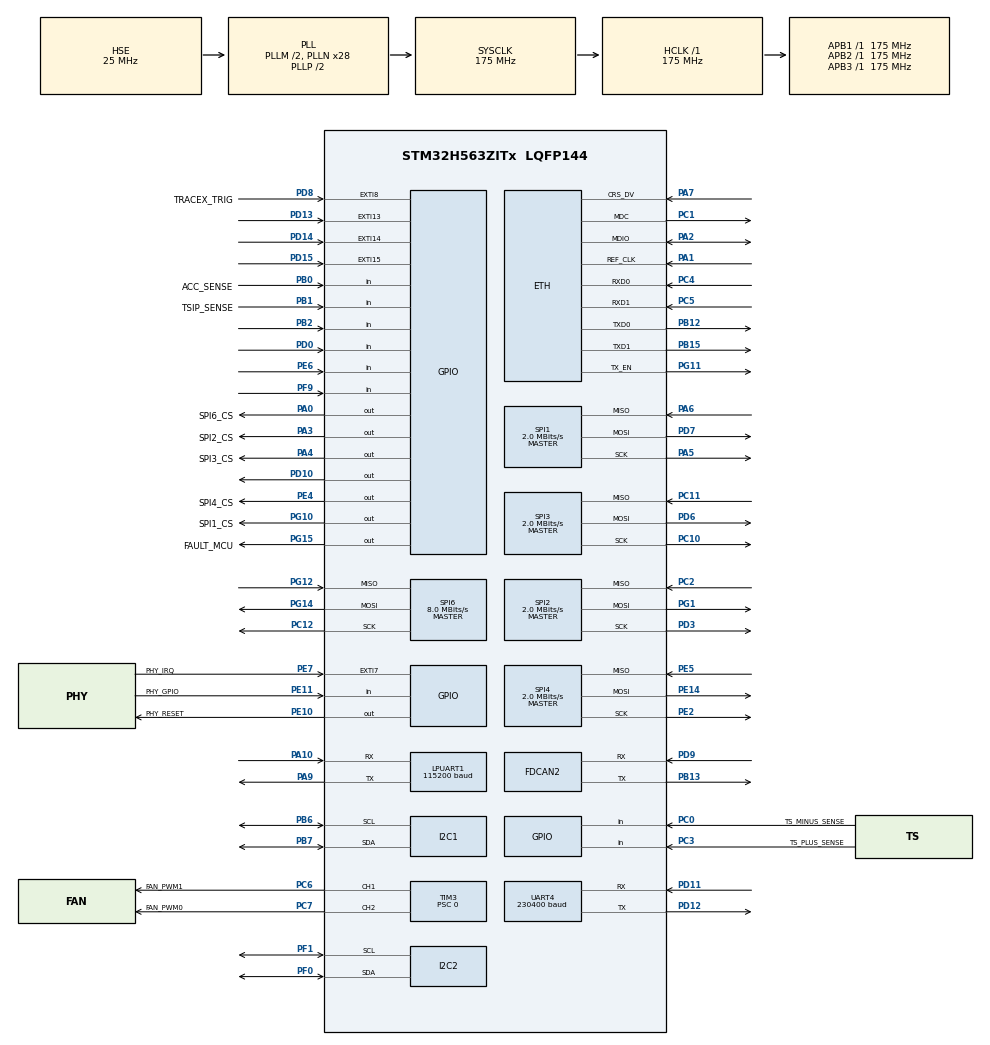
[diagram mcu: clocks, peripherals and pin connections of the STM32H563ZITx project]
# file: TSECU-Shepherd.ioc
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BOOTPATH.BootPathName=LEGACY
BOOTPATH.UserSelectedBootPath=LEGACY
CORTEX_M33_NS.userName=CORTEX_M33
ETH.MediaInterface=HAL_ETH_RMII_MODE
FDCAN2.CalculateBaudRateNominal=500000
FDCAN2.CalculateTimeBitNominal=2000
FDCAN2.CalculateTimeQuantumNominal=125.0
FDCAN2.ExtFiltersNbr=8
FDCAN2.NominalPrescaler=8
FDCAN2.NominalTimeSeg1=11
FDCAN2.NominalTimeSeg2=4
FDCAN2.StdFiltersNbr=28
GPDMA1.DESTINC_GPDMACH0=DMA_DINC_INCREMENTED
GPDMA1.DESTINC_GPDMACH1=DMA_DINC_INCREMENTED
GPDMA1.DESTINC_GPDMACH2=DMA_DINC_INCREMENTED
GPDMA1.DESTINC_GPDMACH3=DMA_DINC_INCREMENTED
GPDMA1.DIRECTION_GPDMACH0=DMA_PERIPH_TO_MEMORY
GPDMA1.DIRECTION_GPDMACH4=DMA_MEMORY_TO_PERIPH
GPDMA1.IPHANDLE_GPDMACH0-SIMPLEREQUEST_GPDMACH0=__NULL
GPDMA1.IPHANDLE_GPDMACH1-SIMPLEREQUEST_GPDMACH1=__NULL
GPDMA1.IPHANDLE_GPDMACH2-SIMPLEREQUEST_GPDMACH2=__NULL
GPDMA1.IPHANDLE_GPDMACH3-SIMPLEREQUEST_GPDMACH3=__NULL
GPDMA1.IPHANDLE_GPDMACH4-SIMPLEREQUEST_GPDMACH4=__NULL
GPDMA1.PRIORITY_GPDMACH0=DMA_LOW_PRIORITY_HIGH_WEIGHT
GPDMA1.PRIORITY_GPDMACH1=DMA_LOW_PRIORITY_HIGH_WEIGHT
GPDMA1.PRIORITY_GPDMACH2=DMA_LOW_PRIORITY_HIGH_WEIGHT
GPDMA1.PRIORITY_GPDMACH3=DMA_LOW_PRIORITY_HIGH_WEIGHT
GPDMA1.PRIORITY_GPDMACH4=DMA_LOW_PRIORITY_MID_WEIGHT
GPDMA1.REQUEST_GPDMACH0=GPDMA1_REQUEST_SPI1_RX
GPDMA1.REQUEST_GPDMACH1=GPDMA1_REQUEST_SPI2_RX
GPDMA1.REQUEST_GPDMACH2=GPDMA1_REQUEST_SPI3_RX
GPDMA1.REQUEST_GPDMACH3=GPDMA1_REQUEST_SPI4_RX
GPDMA1.REQUEST_GPDMACH4=GPDMA1_REQUEST_UART4_TX
GPDMA1.SRCINC_GPDMACH0=DMA_SINC_FIXED
GPDMA1.SRCINC_GPDMACH4=DMA_SINC_INCREMENTED
I2C1.Timing=0x60606293
I2C2.Timing=0x60606293
IWDG.Prescaler=IWDG_PRESCALER_16
LPUART1.BaudRate=115200
Mcu.Family=STM32H5
Mcu.Name=STM32H563ZITx
Mcu.Package=LQFP144
NETXDUO.ETH_ON=1
NETXDUO.NX_APP_MEM_POOL_SIZE=10240
NVIC.ETH_IRQn=true\:4\:0\:true\:false\:true\:false\:true\:true\:true
NVIC.EXTI8_IRQn=true\:15\:0\:true\:false\:true\:false\:true\:true\:true
NVIC.FDCAN2_IT0_IRQn=true\:2\:0\:true\:false\:true\:false\:true\:true\:true
NVIC.FDCAN2_IT1_IRQn=true\:2\:0\:true\:false\:true\:false\:true\:true\:true
NVIC.GPDMA1_Channel0_IRQn=true\:2\:0\:true\:false\:true\:true\:false\:true\:true
NVIC.GPDMA1_Channel1_IRQn=true\:2\:0\:true\:false\:true\:true\:false\:true\:true
NVIC.GPDMA1_Channel2_IRQn=true\:2\:0\:true\:false\:true\:true\:false\:true\:true
NVIC.GPDMA1_Channel3_IRQn=true\:2\:0\:true\:false\:true\:true\:false\:true\:true
NVIC.GPDMA1_Channel4_IRQn=true\:2\:0\:true\:false\:true\:true\:false\:true\:true
NVIC.PriorityGroup=NVIC_PRIORITYGROUP_4
NVIC.SPI1_IRQn=true\:2\:0\:true\:false\:true\:false\:true\:true\:true
NVIC.SPI2_IRQn=true\:2\:0\:true\:false\:true\:false\:true\:true\:true
NVIC.SPI3_IRQn=true\:2\:0\:true\:false\:true\:false\:true\:true\:true
NVIC.SPI4_IRQn=true\:2\:0\:true\:false\:true\:false\:true\:true\:true
NVIC.TIM1_UP_IRQn=true\:1\:0\:true\:false\:true\:false\:false\:true\:true
NVIC.TimeBase=TIM1_UP_IRQn
NVIC.TimeBaseIP=TIM1
NVIC.UART4_IRQn=true\:3\:0\:true\:false\:true\:false\:true\:true\:true
PA0.GPIO_Label=SPI6_CS
PA0.Signal=GPIO_Output
PA1.Mode=RMII
PA1.Signal=ETH_REF_CLK
PA10.Mode=Asynchronous
PA10.Signal=LPUART1_RX
PA13(JTMS/SWDIO).Mode=JTAG_4_pins
PA13(JTMS/SWDIO).Signal=DEBUG_JTMS-SWDIO
PA14(JTCK/SWCLK).Mode=JTAG_4_pins
PA14(JTCK/SWCLK).Signal=DEBUG_JTCK-SWCLK
PA15(JTDI).Mode=JTAG_4_pins
PA15(JTDI).Signal=DEBUG_JTDI
PA2.Mode=RMII
PA2.Signal=ETH_MDIO
PA3.GPIO_Label=SPI2_CS
PA3.Signal=GPIO_Output
PA4.GPIO_Label=SPI3_CS
PA4.Signal=GPIO_Output
PA5.Mode=Full_Duplex_Master
PA5.Signal=SPI1_SCK
PA6.Mode=Full_Duplex_Master
PA6.Signal=SPI1_MISO
PA7.Mode=RMII
PA7.PinAttribute=Free
PA7.Signal=ETH_CRS_DV
PA9.Mode=Asynchronous
PA9.Signal=LPUART1_TX
PB0.GPIO_Label=ACC_SENSE
PB0.Signal=GPIO_Input
PB1.GPIO_Label=TSIP_SENSE
PB1.Signal=GPIO_Input
PB12.Mode=RMII
PB12.Signal=ETH_TXD0
PB13.Mode=FDCAN_Activate
PB13.Signal=FDCAN2_TX
PB15.Mode=RMII
PB15.Signal=ETH_TXD1
PB2.Signal=GPIO_Input
PB3(JTDO/TRACESWO).Mode=JTAG_4_pins
PB3(JTDO/TRACESWO).Signal=DEBUG_JTDO-SWO
PB6.Mode=I2C
PB6.Signal=I2C1_SCL
PB7.Mode=I2C
PB7.PinAttribute=Free
PB7.Signal=I2C1_SDA
PC0.GPIO_Label=TS_MINUS_SENSE
PC0.PinAttribute=Free
PC0.Signal=GPIO_Input
PC1.Mode=RMII
PC1.Signal=ETH_MDC
PC10.Mode=Full_Duplex_Master
PC10.Signal=SPI3_SCK
PC11.Mode=Full_Duplex_Master
PC11.Signal=SPI3_MISO
PC12.Mode=Full_Duplex_Master
PC12.Signal=SPI6_SCK
PC14-OSC32_IN(OSC32_IN).Mode=LSE-External-Oscillator
PC14-OSC32_IN(OSC32_IN).Signal=RCC_OSC32_IN
PC15-OSC32_OUT(OSC32_OUT).Mode=LSE-External-Oscillator
PC15-OSC32_OUT(OSC32_OUT).Signal=RCC_OSC32_OUT
PC2.Mode=Full_Duplex_Master
PC2.Signal=SPI2_MISO
PC3.GPIO_Label=TS_PLUS_SENSE
PC3.Signal=GPIO_Input
PC4.Mode=RMII
PC4.Signal=ETH_RXD0
PC5.Mode=RMII
PC5.Signal=ETH_RXD1
PC6.GPIO_Label=FAN_PWM1
PC6.Signal=S_TIM3_CH1
PC7.GPIO_Label=FAN_PWM0
PC7.Signal=S_TIM3_CH2
PD0.Signal=GPIO_Input
PD10.Signal=GPIO_Output
PD11.Mode=Asynchronous
PD11.Signal=UART4_RX
PD12.Mode=Asynchronous
PD12.PinAttribute=Free
PD12.Signal=UART4_TX
PD13.PinAttribute=Free
PD13.Signal=GPXTI13
PD14.Signal=GPXTI14
PD15.PinAttribute=Free
PD15.Signal=GPXTI15
PD3.Mode=Full_Duplex_Master
PD3.Signal=SPI2_SCK
PD6.Mode=Full_Duplex_Master
PD6.PinAttribute=Free
PD6.Signal=SPI3_MOSI
PD7.Mode=Full_Duplex_Master
PD7.Signal=SPI1_MOSI
PD8.GPIO_Label=TRACEX_TRIG
PD8.GPIO_ModeDefaultEXTI=GPIO_MODE_IT_FALLING
PD8.GPIO_PuPd=GPIO_PULLUP
PD8.Signal=GPXTI8
PD9.Mode=FDCAN_Activate
PD9.Signal=FDCAN2_RX
PE10.GPIO_Label=PHY_RESET
PE10.Signal=GPIO_Output
PE11.GPIO_Label=PHY_GPIO
PE11.Signal=GPIO_Input
PE14.Mode=Full_Duplex_Master
PE14.PinAttribute=Free
PE14.Signal=SPI4_MOSI
PE2.Mode=Full_Duplex_Master
PE2.PinAttribute=Free
PE2.Signal=SPI4_SCK
PE4.GPIO_Label=SPI4_CS
PE4.Signal=GPIO_Output
PE5.Mode=Full_Duplex_Master
PE5.PinAttribute=Free
PE5.Signal=SPI4_MISO
PE6.Signal=GPIO_Input
PE7.GPIO_Label=PHY_IRQ
PE7.Signal=GPXTI7
PF0.Mode=I2C
PF0.Signal=I2C2_SDA
PF1.Mode=I2C
PF1.Signal=I2C2_SCL
PF9.Signal=GPIO_Input
PG1.Mode=Full_Duplex_Master
PG1.Signal=SPI2_MOSI
PG10.GPIO_Label=SPI1_CS
PG10.Signal=GPIO_Output
PG11.Mode=RMII
PG11.Signal=ETH_TX_EN
PG12.Mode=Full_Duplex_Master
PG12.Signal=SPI6_MISO
PG14.Mode=Full_Duplex_Master
PG14.Signal=SPI6_MOSI
PG15.GPIO_Label=FAULT_MCU
PG15.Signal=GPIO_Output
PH0-OSC_IN(PH0).Mode=HSE-External-Oscillator
PH0-OSC_IN(PH0).Signal=RCC_OSC_IN
PH1-OSC_OUT(PH1).Mode=HSE-External-Oscillator
PH1-OSC_OUT(PH1).Signal=RCC_OSC_OUT
ProjectManager.HeapSize=0x200
ProjectManager.StackSize=0x400
ProjectManager.TargetToolchain=CMake
RCC.ADCFreq_Value=175000000
RCC.AHBFreq_Value=175000000
RCC.APB1Freq_Value=175000000
RCC.APB1TimFreq_Value=175000000
RCC.APB2Freq_Value=175000000
RCC.APB2TimFreq_Value=175000000
RCC.APB3Freq_Value=175000000
RCC.CSI_VALUE=4000000
RCC.CortexFreq_Value=175000000
RCC.EPOD_VALUE=25000000
RCC.FDCANClockSelection=RCC_FDCANCLKSOURCE_PLL2Q
RCC.HCLKFreq_Value=175000000
RCC.HSE_VALUE=25000000
RCC.HSI48_VALUE=48000000
RCC.HSI_VALUE=64000000
RCC.LSIRC_VALUE=32000
RCC.PLL2FRACN=0
RCC.PLL2M=5
RCC.PLL2N=64
RCC.PLL2P=5
RCC.PLL2Q=5
RCC.PLL2Source=RCC_PLL2_SOURCE_HSE
RCC.PLL3FRACN=0
RCC.PLLFRACN=0
RCC.PLLM=2
RCC.PLLN=28
RCC.PLLSourceVirtual=RCC_PLL1_SOURCE_HSE
RCC.SPI1CLockSelection=RCC_SPI1CLKSOURCE_PLL2P
RCC.SPI2CLockSelection=RCC_SPI2CLKSOURCE_PLL2P
RCC.SPI3CLockSelection=RCC_SPI3CLKSOURCE_PLL2P
RCC.SPI4CLockSelection=RCC_SPI4CLKSOURCE_PLL2Q
RCC.SPI6CLockSelection=RCC_SPI6CLKSOURCE_PLL2Q
RCC.SYSCLKFreq_VALUE=175000000
RCC.SYSCLKSource=RCC_SYSCLKSOURCE_PLLCLK
RCC.USBFreq_Value=48000000
RCC.VCOOutputFreq_Value=350000000
SH.S_TIM3_CH1.0=TIM3_CH1,PWM Generation1 CH1
SH.S_TIM3_CH2.0=TIM3_CH2,PWM Generation2 CH2
SPI1.BaudRatePrescaler=SPI_BAUDRATEPRESCALER_32
SPI1.CalculateBaudRate=2.0 MBits/s
SPI1.DataSize=SPI_DATASIZE_8BIT
SPI1.Direction=SPI_DIRECTION_2LINES
SPI1.MasterKeepIOState=SPI_MASTER_KEEP_IO_STATE_ENABLE
SPI1.Mode=SPI_MODE_MASTER
SPI1.NSSPMode=SPI_NSS_PULSE_DISABLE
SPI1.VirtualType=VM_MASTER
SPI2.BaudRatePrescaler=SPI_BAUDRATEPRESCALER_32
SPI2.CalculateBaudRate=2.0 MBits/s
SPI2.DataSize=SPI_DATASIZE_8BIT
SPI2.Direction=SPI_DIRECTION_2LINES
SPI2.MasterKeepIOState=SPI_MASTER_KEEP_IO_STATE_ENABLE
SPI2.Mode=SPI_MODE_MASTER
SPI2.NSSPMode=SPI_NSS_PULSE_DISABLE
SPI2.VirtualType=VM_MASTER
SPI3.BaudRatePrescaler=SPI_BAUDRATEPRESCALER_32
SPI3.CalculateBaudRate=2.0 MBits/s
SPI3.DataSize=SPI_DATASIZE_8BIT
SPI3.Direction=SPI_DIRECTION_2LINES
SPI3.MasterKeepIOState=SPI_MASTER_KEEP_IO_STATE_ENABLE
SPI3.Mode=SPI_MODE_MASTER
SPI3.NSSPMode=SPI_NSS_PULSE_DISABLE
SPI3.VirtualType=VM_MASTER
SPI4.BaudRatePrescaler=SPI_BAUDRATEPRESCALER_32
SPI4.CalculateBaudRate=2.0 MBits/s
SPI4.DataSize=SPI_DATASIZE_8BIT
SPI4.Direction=SPI_DIRECTION_2LINES
SPI4.MasterKeepIOState=SPI_MASTER_KEEP_IO_STATE_ENABLE
SPI4.Mode=SPI_MODE_MASTER
SPI4.NSSPMode=SPI_NSS_PULSE_DISABLE
SPI4.VirtualType=VM_MASTER
SPI6.BaudRatePrescaler=SPI_BAUDRATEPRESCALER_8
SPI6.CalculateBaudRate=8.0 MBits/s
SPI6.DataSize=SPI_DATASIZE_8BIT
SPI6.Direction=SPI_DIRECTION_2LINES
SPI6.MasterKeepIOState=SPI_MASTER_KEEP_IO_STATE_ENABLE
SPI6.Mode=SPI_MODE_MASTER
SPI6.NSSPMode=SPI_NSS_PULSE_DISABLE
SPI6.VirtualType=VM_MASTER
THREADX.TX_APP_MEM_POOL_SIZE=60040
THREADX.TX_ENABLE_EVENT_TRACE=1
THREADX.TX_TIMER_TICKS_PER_SECOND=1000
TIM2.Prescaler=174
TIM3.Channel-PWM\ Generation1\ CH1=TIM_CHANNEL_1
TIM3.Channel-PWM\ Generation2\ CH2=TIM_CHANNEL_2
TIM3.Prescaler=0
TIM4.PeriodNoDither=65535
TIM4.Prescaler=174
TIM5.Prescaler=174
TIM6.Prescaler=174
UART4.BaudRate=230400
UART4.Mode=MODE_TX
VP_BOOTPATH_VS_BOOTPATH.Mode=BP_Activate
VP_CORTEX_M33_NS_VS_Hclk.Mode=Hclk_Mode
VP_GPDMA1_VS_GPDMACH0.Mode=SIMPLEREQUEST_GPDMACH0
VP_GPDMA1_VS_GPDMACH1.Mode=SIMPLEREQUEST_GPDMACH1
VP_GPDMA1_VS_GPDMACH2.Mode=SIMPLEREQUEST_GPDMACH2
VP_GPDMA1_VS_GPDMACH3.Mode=SIMPLEREQUEST_GPDMACH3
VP_GPDMA1_VS_GPDMACH4.Mode=SIMPLEREQUEST_GPDMACH4
VP_ICACHE_VS_ENABLE_ICACHE_MEMORY.Mode=Memoryregions
VP_IWDG_VS_IWDG.Mode=IWDG_Activate
VP_MEMORYMAP_VS_MEMORYMAP.Mode=CurAppReg
VP_NETXDUO_VS_EthernetOoPhyOoInterface.Mode=Custom_Phy_Interface
VP_NETXDUO_VS_NXOoCore.Mode=NX_Core
VP_NETXDUO_VS_NetworkOoInterface.Mode=Ethernet_Interface
VP_PWR_VS_DBSignals.Mode=DisableDeadBatterySignals
VP_PWR_VS_LPOM.Mode=PowerOptimisation
VP_PWR_VS_SECSignals.Mode=Security/Privilege
VP_SYS_VS_tim1.Mode=TIM1
VP_THREADX_VS_RTOSJjThreadXJjCoreJjDefault.Mode=Core_Default
VP_THREADX_VS_RTOSJjThreadXJjTraceX_SupportJjDefault.Mode=TraceX_Support_Default
VP_TIM2_VS_ClockSourceINT.Mode=Internal
VP_TIM4_VS_ClockSourceINT.Mode=Internal
VP_TIM5_VS_ClockSourceINT.Mode=Internal
VP_TIM6_VS_ClockSourceINT.Mode=Enable_Timer
board=custom

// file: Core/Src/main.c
/* USER CODE BEGIN Header */
/**
  ******************************************************************************
  * @file           : main.c
  * @brief          : Main program body
  ******************************************************************************
  * @attention
  *
  * Copyright (c) 2025 STMicroelectronics.
  * All rights reserved.
  *
  * This software is licensed under terms that can be found in the LICENSE file
  * in the root directory of this software component.
  * If no LICENSE file comes with this software, it is provided AS-IS.
  *
  ******************************************************************************
  */
/* USER CODE END Header */
#include "app_threadx.h"
#include "main.h"

/* USER CODE BEGIN Includes */
#include <stdint.h>
#include <stdio.h>
#include <assert.h>
#include "can_handler.h"
#include "fdcan.h"
/* USER CODE END Includes */

ETH_DMADescTypeDef  DMARxDscrTab[ETH_RX_DESC_CNT]; /* Ethernet Rx DMA Descriptors */
ETH_DMADescTypeDef  DMATxDscrTab[ETH_TX_DESC_CNT]; /* Ethernet Tx DMA Descriptors */

ETH_HandleTypeDef heth;

FDCAN_HandleTypeDef hfdcan2;

I2C_HandleTypeDef hi2c1;
I2C_HandleTypeDef hi2c2;

IWDG_HandleTypeDef hiwdg;

UART_HandleTypeDef hlpuart1;
UART_HandleTypeDef huart4;
DMA_HandleTypeDef handle_GPDMA1_Channel4;

SPI_HandleTypeDef hspi1;
SPI_HandleTypeDef hspi2;
SPI_HandleTypeDef hspi3;
SPI_HandleTypeDef hspi4;
SPI_HandleTypeDef hspi6;
DMA_HandleTypeDef handle_GPDMA1_Channel0;
DMA_HandleTypeDef handle_GPDMA1_Channel1;
DMA_HandleTypeDef handle_GPDMA1_Channel2;
DMA_HandleTypeDef handle_GPDMA1_Channel3;

TIM_HandleTypeDef htim2;
TIM_HandleTypeDef htim3;
TIM_HandleTypeDef htim4;
TIM_HandleTypeDef htim5;
TIM_HandleTypeDef htim6;

void SystemClock_Config(void);
void PeriphCommonClock_Config(void);
static void MX_GPIO_Init(void);
static void MX_GPDMA1_Init(void);
static void MX_ETH_Init(void);
static void MX_I2C1_Init(void);
static void MX_LPUART1_UART_Init(void);
static void MX_SPI1_Init(void);
static void MX_SPI2_Init(void);
static void MX_ICACHE_Init(void);
static void MX_FDCAN2_Init(void);
static void MX_SPI3_Init(void);
static void MX_SPI4_Init(void);
static void MX_I2C2_Init(void);
static void MX_SPI6_Init(void);
static void MX_TIM3_Init(void);
static void MX_TIM5_Init(void);
static void MX_UART4_Init(void);
static void MX_TIM2_Init(void);
static void MX_TIM4_Init(void);
static void MX_TIM6_Init(void);
static void MX_IWDG_Init(void);

/* USER CODE BEGIN 0 */
/* Make printf() use LPUART1 */
int _write(int file, char *ptr, int len)
{
    HAL_UART_Transmit(&hlpuart1, (uint8_t*)ptr, len, HAL_MAX_DELAY);
    return len;
}

/* FDCAN FIFO0 Interrupt Callback */
/* Callback for any FIFO0 interrupt stuff */
void HAL_FDCAN_RxFifo0Callback(FDCAN_HandleTypeDef *hfdcan, uint32_t RxFifo0ITs)
{
  can_receive_callback(hfdcan, RxFifo0ITs);
}

/* BusOff Error Handling. */
void HAL_FDCAN_ErrorStatusCallback(FDCAN_HandleTypeDef *hfdcan, uint32_t ErrorStatusITs)
{
    FDCAN_ProtocolStatusTypeDef protocol_status;
    HAL_FDCAN_GetProtocolStatus(hfdcan, &protocol_status);

    if (protocol_status.BusOff != 0)  // If Bus-Off error occurred
    {
        CLEAR_BIT(hfdcan->Instance->CCCR, FDCAN_CCCR_INIT);  // Clear INIT bit to recover from Bus-Off
    }
}

/* USER CODE END 0 */

int main(void)
{

  /* MCU Configuration--------------------------------------------------------*/

  /* Reset of all peripherals, Initializes the Flash interface and the Systick. */
  HAL_Init();

  /* Configure the system clock */
  SystemClock_Config();

  /* Configure the peripherals common clocks */
  PeriphCommonClock_Config();

  /* Initialize all configured peripherals */
  MX_GPIO_Init();
  MX_GPDMA1_Init();
  MX_ETH_Init();
  MX_I2C1_Init();
  MX_LPUART1_UART_Init();
  MX_SPI1_Init();
  MX_SPI2_Init();
  MX_ICACHE_Init();
  MX_FDCAN2_Init();
  MX_SPI3_Init();
  MX_SPI4_Init();
  MX_I2C2_Init();
  MX_SPI6_Init();
  MX_TIM3_Init();
  MX_TIM5_Init();
  MX_UART4_Init();
  MX_TIM2_Init();
  MX_TIM4_Init();
  MX_TIM6_Init();
  MX_IWDG_Init();
  /* USER CODE BEGIN 2 */
  init_can1(&hfdcan2);
  /* USER CODE END 2 */

  MX_ThreadX_Init();

  /* We should never get here as control is now taken by the scheduler */

  /* Infinite loop */
  while (1)
  {

  }
}

void SystemClock_Config(void)
{
  RCC_OscInitTypeDef RCC_OscInitStruct = {0};
  RCC_ClkInitTypeDef RCC_ClkInitStruct = {0};

  /** Configure the main internal regulator output voltage
  */
  __HAL_PWR_VOLTAGESCALING_CONFIG(PWR_REGULATOR_VOLTAGE_SCALE1);

  while(!__HAL_PWR_GET_FLAG(PWR_FLAG_VOSRDY)) {}

  /** Initializes the RCC Oscillators according to the specified parameters
  * in the RCC_OscInitTypeDef structure.
  */
  RCC_OscInitStruct.OscillatorType = RCC_OSCILLATORTYPE_LSI|RCC_OSCILLATORTYPE_HSE;
  RCC_OscInitStruct.HSEState = RCC_HSE_ON;
  RCC_OscInitStruct.LSIState = RCC_LSI_ON;
  RCC_OscInitStruct.PLL.PLLState = RCC_PLL_ON;
  RCC_OscInitStruct.PLL.PLLSource = RCC_PLL1_SOURCE_HSE;
  RCC_OscInitStruct.PLL.PLLM = 2;
  RCC_OscInitStruct.PLL.PLLN = 28;
  RCC_OscInitStruct.PLL.PLLP = 2;
  RCC_OscInitStruct.PLL.PLLQ = 2;
  RCC_OscInitStruct.PLL.PLLR = 2;
  RCC_OscInitStruct.PLL.PLLRGE = RCC_PLL1_VCIRANGE_3;
  RCC_OscInitStruct.PLL.PLLVCOSEL = RCC_PLL1_VCORANGE_WIDE;
  RCC_OscInitStruct.PLL.PLLFRACN = 0;
  if (HAL_RCC_OscConfig(&RCC_OscInitStruct) != HAL_OK)
  {
    Error_Handler();
  }

  /** Initializes the CPU, AHB and APB buses clocks
  */
  RCC_ClkInitStruct.ClockType = RCC_CLOCKTYPE_HCLK|RCC_CLOCKTYPE_SYSCLK
                              |RCC_CLOCKTYPE_PCLK1|RCC_CLOCKTYPE_PCLK2
                              |RCC_CLOCKTYPE_PCLK3;
  RCC_ClkInitStruct.SYSCLKSource = RCC_SYSCLKSOURCE_PLLCLK;
  RCC_ClkInitStruct.AHBCLKDivider = RCC_SYSCLK_DIV1;
  RCC_ClkInitStruct.APB1CLKDivider = RCC_HCLK_DIV1;
  RCC_ClkInitStruct.APB2CLKDivider = RCC_HCLK_DIV1;
  RCC_ClkInitStruct.APB3CLKDivider = RCC_HCLK_DIV1;

  if (HAL_RCC_ClockConfig(&RCC_ClkInitStruct, FLASH_LATENCY_5) != HAL_OK)
  {
    Error_Handler();
  }

  /** Configure the programming delay
  */
  __HAL_FLASH_SET_PROGRAM_DELAY(FLASH_PROGRAMMING_DELAY_2);
}

void PeriphCommonClock_Config(void)
{
  RCC_PeriphCLKInitTypeDef PeriphClkInitStruct = {0};

  /** Initializes the peripherals clock
  */
  PeriphClkInitStruct.PeriphClockSelection = RCC_PERIPHCLK_FDCAN|RCC_PERIPHCLK_SPI1
                              |RCC_PERIPHCLK_SPI2|RCC_PERIPHCLK_SPI3
                              |RCC_PERIPHCLK_SPI4|RCC_PERIPHCLK_SPI6;
  PeriphClkInitStruct.PLL2.PLL2Source = RCC_PLL2_SOURCE_HSE;
  PeriphClkInitStruct.PLL2.PLL2M = 5;
  PeriphClkInitStruct.PLL2.PLL2N = 64;
  PeriphClkInitStruct.PLL2.PLL2P = 5;
  PeriphClkInitStruct.PLL2.PLL2Q = 5;
  PeriphClkInitStruct.PLL2.PLL2R = 2;
  PeriphClkInitStruct.PLL2.PLL2RGE = RCC_PLL2_VCIRANGE_2;
  PeriphClkInitStruct.PLL2.PLL2VCOSEL = RCC_PLL2_VCORANGE_WIDE;
  PeriphClkInitStruct.PLL2.PLL2FRACN = 0;
  PeriphClkInitStruct.PLL2.PLL2ClockOut = RCC_PLL2_DIVP|RCC_PLL2_DIVQ;
  PeriphClkInitStruct.FdcanClockSelection = RCC_FDCANCLKSOURCE_PLL2Q;
  PeriphClkInitStruct.Spi1ClockSelection = RCC_SPI1CLKSOURCE_PLL2P;
  PeriphClkInitStruct.Spi2ClockSelection = RCC_SPI2CLKSOURCE_PLL2P;
  PeriphClkInitStruct.Spi3ClockSelection = RCC_SPI3CLKSOURCE_PLL2P;
  PeriphClkInitStruct.Spi4ClockSelection = RCC_SPI4CLKSOURCE_PLL2Q;
  PeriphClkInitStruct.Spi6ClockSelection = RCC_SPI6CLKSOURCE_PLL2Q;
  if (HAL_RCCEx_PeriphCLKConfig(&PeriphClkInitStruct) != HAL_OK)
  {
    Error_Handler();
  }
}

static void MX_ETH_Init(void)
{

   static uint8_t MACAddr[6];

  heth.Instance = ETH;
  MACAddr[0] = 0x00;
  MACAddr[1] = 0x80;
  MACAddr[2] = 0xE1;
  MACAddr[3] = 0x00;
  MACAddr[4] = 0x00;
  MACAddr[5] = 0x00;
  heth.Init.MACAddr = &MACAddr[0];
  heth.Init.MediaInterface = HAL_ETH_RMII_MODE;
  heth.Init.TxDesc = DMATxDscrTab;
  heth.Init.RxDesc = DMARxDscrTab;
  heth.Init.RxBuffLen = 1524;

  if (HAL_ETH_Init(&heth) != HAL_OK)
  {
    Error_Handler();
  }

}

static void MX_FDCAN2_Init(void)
{

  hfdcan2.Instance = FDCAN2;
  hfdcan2.Init.ClockDivider = FDCAN_CLOCK_DIV1;
  hfdcan2.Init.FrameFormat = FDCAN_FRAME_CLASSIC;
  hfdcan2.Init.Mode = FDCAN_MODE_NORMAL;
  hfdcan2.Init.AutoRetransmission = DISABLE;
  hfdcan2.Init.TransmitPause = DISABLE;
  hfdcan2.Init.ProtocolException = DISABLE;
  hfdcan2.Init.NominalPrescaler = 8;
  hfdcan2.Init.NominalSyncJumpWidth = 1;
  hfdcan2.Init.NominalTimeSeg1 = 11;
  hfdcan2.Init.NominalTimeSeg2 = 4;
  hfdcan2.Init.DataPrescaler = 1;
  hfdcan2.Init.DataSyncJumpWidth = 1;
  hfdcan2.Init.DataTimeSeg1 = 1;
  hfdcan2.Init.DataTimeSeg2 = 1;
  hfdcan2.Init.StdFiltersNbr = 28;
  hfdcan2.Init.ExtFiltersNbr = 8;
  hfdcan2.Init.TxFifoQueueMode = FDCAN_TX_FIFO_OPERATION;
  if (HAL_FDCAN_Init(&hfdcan2) != HAL_OK)
  {
    Error_Handler();
  }

}

static void MX_GPDMA1_Init(void)
{

  /* Peripheral clock enable */
  __HAL_RCC_GPDMA1_CLK_ENABLE();

  /* GPDMA1 interrupt Init */
    HAL_NVIC_SetPriority(GPDMA1_Channel0_IRQn, 2, 0);
    HAL_NVIC_EnableIRQ(GPDMA1_Channel0_IRQn);
    HAL_NVIC_SetPriority(GPDMA1_Channel1_IRQn, 2, 0);
    HAL_NVIC_EnableIRQ(GPDMA1_Channel1_IRQn);
    HAL_NVIC_SetPriority(GPDMA1_Channel2_IRQn, 2, 0);
    HAL_NVIC_EnableIRQ(GPDMA1_Channel2_IRQn);
    HAL_NVIC_SetPriority(GPDMA1_Channel3_IRQn, 2, 0);
    HAL_NVIC_EnableIRQ(GPDMA1_Channel3_IRQn);
    HAL_NVIC_SetPriority(GPDMA1_Channel4_IRQn, 2, 0);
    HAL_NVIC_EnableIRQ(GPDMA1_Channel4_IRQn);

}

static void MX_I2C1_Init(void)
{

  hi2c1.Instance = I2C1;
  hi2c1.Init.Timing = 0x60606293;
  hi2c1.Init.OwnAddress1 = 0;
  hi2c1.Init.AddressingMode = I2C_ADDRESSINGMODE_7BIT;
  hi2c1.Init.DualAddressMode = I2C_DUALADDRESS_DISABLE;
  hi2c1.Init.OwnAddress2 = 0;
  hi2c1.Init.OwnAddress2Masks = I2C_OA2_NOMASK;
  hi2c1.Init.GeneralCallMode = I2C_GENERALCALL_DISABLE;
  hi2c1.Init.NoStretchMode = I2C_NOSTRETCH_DISABLE;
  if (HAL_I2C_Init(&hi2c1) != HAL_OK)
  {
    Error_Handler();
  }

  /** Configure Analogue filter
  */
  if (HAL_I2CEx_ConfigAnalogFilter(&hi2c1, I2C_ANALOGFILTER_ENABLE) != HAL_OK)
  {
    Error_Handler();
  }

  /** Configure Digital filter
  */
  if (HAL_I2CEx_ConfigDigitalFilter(&hi2c1, 0) != HAL_OK)
  {
    Error_Handler();
  }

}

static void MX_I2C2_Init(void)
{

  hi2c2.Instance = I2C2;
  hi2c2.Init.Timing = 0x60606293;
  hi2c2.Init.OwnAddress1 = 0;
  hi2c2.Init.AddressingMode = I2C_ADDRESSINGMODE_7BIT;
  hi2c2.Init.DualAddressMode = I2C_DUALADDRESS_DISABLE;
  hi2c2.Init.OwnAddress2 = 0;
  hi2c2.Init.OwnAddress2Masks = I2C_OA2_NOMASK;
  hi2c2.Init.GeneralCallMode = I2C_GENERALCALL_DISABLE;
  hi2c2.Init.NoStretchMode = I2C_NOSTRETCH_DISABLE;
  if (HAL_I2C_Init(&hi2c2) != HAL_OK)
  {
    Error_Handler();
  }

  /** Configure Analogue filter
  */
  if (HAL_I2CEx_ConfigAnalogFilter(&hi2c2, I2C_ANALOGFILTER_ENABLE) != HAL_OK)
  {
    Error_Handler();
  }

  /** Configure Digital filter
  */
  if (HAL_I2CEx_ConfigDigitalFilter(&hi2c2, 0) != HAL_OK)
  {
    Error_Handler();
  }

}

static void MX_ICACHE_Init(void)
{

}

static void MX_IWDG_Init(void)
{

  hiwdg.Instance = IWDG;
  hiwdg.Init.Prescaler = IWDG_PRESCALER_16;
  hiwdg.Init.Window = 4095;
  hiwdg.Init.Reload = 4095;
  hiwdg.Init.EWI = 0;
  if (HAL_IWDG_Init(&hiwdg) != HAL_OK)
  {
    Error_Handler();
  }

}

static void MX_LPUART1_UART_Init(void)
{

  hlpuart1.Instance = LPUART1;
  hlpuart1.Init.BaudRate = 115200;
  hlpuart1.Init.WordLength = UART_WORDLENGTH_8B;
  hlpuart1.Init.StopBits = UART_STOPBITS_1;
  hlpuart1.Init.Parity = UART_PARITY_NONE;
  hlpuart1.Init.Mode = UART_MODE_TX_RX;
  hlpuart1.Init.HwFlowCtl = UART_HWCONTROL_NONE;
  hlpuart1.Init.OneBitSampling = UART_ONE_BIT_SAMPLE_DISABLE;
  hlpuart1.Init.ClockPrescaler = UART_PRESCALER_DIV1;
  hlpuart1.AdvancedInit.AdvFeatureInit = UART_ADVFEATURE_NO_INIT;
  hlpuart1.FifoMode = UART_FIFOMODE_DISABLE;
  if (HAL_UART_Init(&hlpuart1) != HAL_OK)
  {
    Error_Handler();
  }
  if (HAL_UARTEx_SetTxFifoThreshold(&hlpuart1, UART_TXFIFO_THRESHOLD_1_8) != HAL_OK)
  {
    Error_Handler();
  }
  if (HAL_UARTEx_SetRxFifoThreshold(&hlpuart1, UART_RXFIFO_THRESHOLD_1_8) != HAL_OK)
  {
    Error_Handler();
  }
  if (HAL_UARTEx_DisableFifoMode(&hlpuart1) != HAL_OK)
  {
    Error_Handler();
  }

}

static void MX_UART4_Init(void)
{

  huart4.Instance = UART4;
  huart4.Init.BaudRate = 230400;
  huart4.Init.WordLength = UART_WORDLENGTH_8B;
  huart4.Init.StopBits = UART_STOPBITS_1;
  huart4.Init.Parity = UART_PARITY_NONE;
  huart4.Init.Mode = UART_MODE_TX;
  huart4.Init.HwFlowCtl = UART_HWCONTROL_NONE;
  huart4.Init.OverSampling = UART_OVERSAMPLING_16;
  huart4.Init.OneBitSampling = UART_ONE_BIT_SAMPLE_DISABLE;
  huart4.Init.ClockPrescaler = UART_PRESCALER_DIV1;
  huart4.AdvancedInit.AdvFeatureInit = UART_ADVFEATURE_NO_INIT;
  if (HAL_UART_Init(&huart4) != HAL_OK)
  {
    Error_Handler();
  }
  if (HAL_UARTEx_SetTxFifoThreshold(&huart4, UART_TXFIFO_THRESHOLD_1_8) != HAL_OK)
  {
    Error_Handler();
  }
  if (HAL_UARTEx_SetRxFifoThreshold(&huart4, UART_RXFIFO_THRESHOLD_1_8) != HAL_OK)
  {
    Error_Handler();
  }
  if (HAL_UARTEx_DisableFifoMode(&huart4) != HAL_OK)
  {
    Error_Handler();
  }

}

static void MX_SPI1_Init(void)
{

  /* SPI1 parameter configuration*/
  hspi1.Instance = SPI1;
  hspi1.Init.Mode = SPI_MODE_MASTER;
  hspi1.Init.Direction = SPI_DIRECTION_2LINES;
  hspi1.Init.DataSize = SPI_DATASIZE_8BIT;
  hspi1.Init.CLKPolarity = SPI_POLARITY_LOW;
  hspi1.Init.CLKPhase = SPI_PHASE_1EDGE;
  hspi1.Init.NSS = SPI_NSS_SOFT;
  hspi1.Init.BaudRatePrescaler = SPI_BAUDRATEPRESCALER_32;
  hspi1.Init.FirstBit = SPI_FIRSTBIT_MSB;
  hspi1.Init.TIMode = SPI_TIMODE_DISABLE;
  hspi1.Init.CRCCalculation = SPI_CRCCALCULATION_DISABLE;
  hspi1.Init.CRCPolynomial = 0x7;
  hspi1.Init.NSSPMode = SPI_NSS_PULSE_DISABLE;
  hspi1.Init.NSSPolarity = SPI_NSS_POLARITY_LOW;
  hspi1.Init.FifoThreshold = SPI_FIFO_THRESHOLD_01DATA;
  hspi1.Init.MasterSSIdleness = SPI_MASTER_SS_IDLENESS_00CYCLE;
  hspi1.Init.MasterInterDataIdleness = SPI_MASTER_INTERDATA_IDLENESS_00CYCLE;
  hspi1.Init.MasterReceiverAutoSusp = SPI_MASTER_RX_AUTOSUSP_DISABLE;
  hspi1.Init.MasterKeepIOState = SPI_MASTER_KEEP_IO_STATE_ENABLE;
  hspi1.Init.IOSwap = SPI_IO_SWAP_DISABLE;
  hspi1.Init.ReadyMasterManagement = SPI_RDY_MASTER_MANAGEMENT_INTERNALLY;
  hspi1.Init.ReadyPolarity = SPI_RDY_POLARITY_HIGH;
  if (HAL_SPI_Init(&hspi1) != HAL_OK)
  {
    Error_Handler();
  }

}

static void MX_SPI2_Init(void)
{

  /* SPI2 parameter configuration*/
  hspi2.Instance = SPI2;
  hspi2.Init.Mode = SPI_MODE_MASTER;
  hspi2.Init.Direction = SPI_DIRECTION_2LINES;
  hspi2.Init.DataSize = SPI_DATASIZE_8BIT;
  hspi2.Init.CLKPolarity = SPI_POLARITY_LOW;
  hspi2.Init.CLKPhase = SPI_PHASE_1EDGE;
  hspi2.Init.NSS = SPI_NSS_SOFT;
  hspi2.Init.BaudRatePrescaler = SPI_BAUDRATEPRESCALER_32;
  hspi2.Init.FirstBit = SPI_FIRSTBIT_MSB;
  hspi2.Init.TIMode = SPI_TIMODE_DISABLE;
  hspi2.Init.CRCCalculation = SPI_CRCCALCULATION_DISABLE;
  hspi2.Init.CRCPolynomial = 0x7;
  hspi2.Init.NSSPMode = SPI_NSS_PULSE_DISABLE;
  hspi2.Init.NSSPolarity = SPI_NSS_POLARITY_LOW;
  hspi2.Init.FifoThreshold = SPI_FIFO_THRESHOLD_01DATA;
  hspi2.Init.MasterSSIdleness = SPI_MASTER_SS_IDLENESS_00CYCLE;
  hspi2.Init.MasterInterDataIdleness = SPI_MASTER_INTERDATA_IDLENESS_00CYCLE;
  hspi2.Init.MasterReceiverAutoSusp = SPI_MASTER_RX_AUTOSUSP_DISABLE;
  hspi2.Init.MasterKeepIOState = SPI_MASTER_KEEP_IO_STATE_ENABLE;
  hspi2.Init.IOSwap = SPI_IO_SWAP_DISABLE;
  hspi2.Init.ReadyMasterManagement = SPI_RDY_MASTER_MANAGEMENT_INTERNALLY;
  hspi2.Init.ReadyPolarity = SPI_RDY_POLARITY_HIGH;
  if (HAL_SPI_Init(&hspi2) != HAL_OK)
  {
    Error_Handler();
  }

}

static void MX_SPI3_Init(void)
{

  /* SPI3 parameter configuration*/
  hspi3.Instance = SPI3;
  hspi3.Init.Mode = SPI_MODE_MASTER;
  hspi3.Init.Direction = SPI_DIRECTION_2LINES;
  hspi3.Init.DataSize = SPI_DATASIZE_8BIT;
  hspi3.Init.CLKPolarity = SPI_POLARITY_LOW;
  hspi3.Init.CLKPhase = SPI_PHASE_1EDGE;
  hspi3.Init.NSS = SPI_NSS_SOFT;
  hspi3.Init.BaudRatePrescaler = SPI_BAUDRATEPRESCALER_32;
  hspi3.Init.FirstBit = SPI_FIRSTBIT_MSB;
  hspi3.Init.TIMode = SPI_TIMODE_DISABLE;
  hspi3.Init.CRCCalculation = SPI_CRCCALCULATION_DISABLE;
  hspi3.Init.CRCPolynomial = 0x7;
  hspi3.Init.NSSPMode = SPI_NSS_PULSE_DISABLE;
  hspi3.Init.NSSPolarity = SPI_NSS_POLARITY_LOW;
  hspi3.Init.FifoThreshold = SPI_FIFO_THRESHOLD_01DATA;
  hspi3.Init.MasterSSIdleness = SPI_MASTER_SS_IDLENESS_00CYCLE;
  hspi3.Init.MasterInterDataIdleness = SPI_MASTER_INTERDATA_IDLENESS_00CYCLE;
  hspi3.Init.MasterReceiverAutoSusp = SPI_MASTER_RX_AUTOSUSP_DISABLE;
  hspi3.Init.MasterKeepIOState = SPI_MASTER_KEEP_IO_STATE_ENABLE;
  hspi3.Init.IOSwap = SPI_IO_SWAP_DISABLE;
  hspi3.Init.ReadyMasterManagement = SPI_RDY_MASTER_MANAGEMENT_INTERNALLY;
  hspi3.Init.ReadyPolarity = SPI_RDY_POLARITY_HIGH;
  if (HAL_SPI_Init(&hspi3) != HAL_OK)
  {
    Error_Handler();
  }

}

static void MX_SPI4_Init(void)
{

  /* SPI4 parameter configuration*/
  hspi4.Instance = SPI4;
  hspi4.Init.Mode = SPI_MODE_MASTER;
  hspi4.Init.Direction = SPI_DIRECTION_2LINES;
  hspi4.Init.DataSize = SPI_DATASIZE_8BIT;
  hspi4.Init.CLKPolarity = SPI_POLARITY_LOW;
  hspi4.Init.CLKPhase = SPI_PHASE_1EDGE;
  hspi4.Init.NSS = SPI_NSS_SOFT;
  hspi4.Init.BaudRatePrescaler = SPI_BAUDRATEPRESCALER_32;
  hspi4.Init.FirstBit = SPI_FIRSTBIT_MSB;
  hspi4.Init.TIMode = SPI_TIMODE_DISABLE;
  hspi4.Init.CRCCalculation = SPI_CRCCALCULATION_DISABLE;
  hspi4.Init.CRCPolynomial = 0x7;
  hspi4.Init.NSSPMode = SPI_NSS_PULSE_DISABLE;
  hspi4.Init.NSSPolarity = SPI_NSS_POLARITY_LOW;
  hspi4.Init.FifoThreshold = SPI_FIFO_THRESHOLD_01DATA;
  hspi4.Init.MasterSSIdleness = SPI_MASTER_SS_IDLENESS_00CYCLE;
  hspi4.Init.MasterInterDataIdleness = SPI_MASTER_INTERDATA_IDLENESS_00CYCLE;
  hspi4.Init.MasterReceiverAutoSusp = SPI_MASTER_RX_AUTOSUSP_DISABLE;
  hspi4.Init.MasterKeepIOState = SPI_MASTER_KEEP_IO_STATE_ENABLE;
  hspi4.Init.IOSwap = SPI_IO_SWAP_DISABLE;
  hspi4.Init.ReadyMasterManagement = SPI_RDY_MASTER_MANAGEMENT_INTERNALLY;
  hspi4.Init.ReadyPolarity = SPI_RDY_POLARITY_HIGH;
  if (HAL_SPI_Init(&hspi4) != HAL_OK)
  {
    Error_Handler();
  }

}

static void MX_SPI6_Init(void)
{

  /* SPI6 parameter configuration*/
  hspi6.Instance = SPI6;
  hspi6.Init.Mode = SPI_MODE_MASTER;
  hspi6.Init.Direction = SPI_DIRECTION_2LINES;
  hspi6.Init.DataSize = SPI_DATASIZE_8BIT;
  hspi6.Init.CLKPolarity = SPI_POLARITY_LOW;
  hspi6.Init.CLKPhase = SPI_PHASE_1EDGE;
  hspi6.Init.NSS = SPI_NSS_SOFT;
  hspi6.Init.BaudRatePrescaler = SPI_BAUDRATEPRESCALER_8;
  hspi6.Init.FirstBit = SPI_FIRSTBIT_MSB;
  hspi6.Init.TIMode = SPI_TIMODE_DISABLE;
  hspi6.Init.CRCCalculation = SPI_CRCCALCULATION_DISABLE;
  hspi6.Init.CRCPolynomial = 0x7;
  hspi6.Init.NSSPMode = SPI_NSS_PULSE_DISABLE;
  hspi6.Init.NSSPolarity = SPI_NSS_POLARITY_LOW;
  hspi6.Init.FifoThreshold = SPI_FIFO_THRESHOLD_01DATA;
  hspi6.Init.MasterSSIdleness = SPI_MASTER_SS_IDLENESS_00CYCLE;
  hspi6.Init.MasterInterDataIdleness = SPI_MASTER_INTERDATA_IDLENESS_00CYCLE;
  hspi6.Init.MasterReceiverAutoSusp = SPI_MASTER_RX_AUTOSUSP_DISABLE;
  hspi6.Init.MasterKeepIOState = SPI_MASTER_KEEP_IO_STATE_ENABLE;
  hspi6.Init.IOSwap = SPI_IO_SWAP_DISABLE;
  hspi6.Init.ReadyMasterManagement = SPI_RDY_MASTER_MANAGEMENT_INTERNALLY;
  hspi6.Init.ReadyPolarity = SPI_RDY_POLARITY_HIGH;
  if (HAL_SPI_Init(&hspi6) != HAL_OK)
  {
    Error_Handler();
  }

}

static void MX_TIM2_Init(void)
{

  TIM_ClockConfigTypeDef sClockSourceConfig = {0};
  TIM_MasterConfigTypeDef sMasterConfig = {0};

  htim2.Instance = TIM2;
  htim2.Init.Prescaler = 174;
  htim2.Init.CounterMode = TIM_COUNTERMODE_UP;
  htim2.Init.Period = 4294967295;
  htim2.Init.ClockDivision = TIM_CLOCKDIVISION_DIV1;
  htim2.Init.AutoReloadPreload = TIM_AUTORELOAD_PRELOAD_DISABLE;
  if (HAL_TIM_Base_Init(&htim2) != HAL_OK)
  {
    Error_Handler();
  }
  sClockSourceConfig.ClockSource = TIM_CLOCKSOURCE_INTERNAL;
  if (HAL_TIM_ConfigClockSource(&htim2, &sClockSourceConfig) != HAL_OK)
  {
    Error_Handler();
  }
  sMasterConfig.MasterOutputTrigger = TIM_TRGO_RESET;
  sMasterConfig.MasterSlaveMode = TIM_MASTERSLAVEMODE_DISABLE;
  if (HAL_TIMEx_MasterConfigSynchronization(&htim2, &sMasterConfig) != HAL_OK)
  {
    Error_Handler();
  }
  /* USER CODE BEGIN TIM2_Init 2 */
  HAL_TIM_Base_Start(&htim2);
  /* USER CODE END TIM2_Init 2 */

}

static void MX_TIM3_Init(void)
{

  TIM_MasterConfigTypeDef sMasterConfig = {0};
  TIM_OC_InitTypeDef sConfigOC = {0};

  htim3.Instance = TIM3;
  htim3.Init.Prescaler = 0;
  htim3.Init.CounterMode = TIM_COUNTERMODE_UP;
  htim3.Init.Period = 65535;
  htim3.Init.ClockDivision = TIM_CLOCKDIVISION_DIV1;
  htim3.Init.AutoReloadPreload = TIM_AUTORELOAD_PRELOAD_DISABLE;
  if (HAL_TIM_PWM_Init(&htim3) != HAL_OK)
  {
    Error_Handler();
  }
  sMasterConfig.MasterOutputTrigger = TIM_TRGO_RESET;
  sMasterConfig.MasterSlaveMode = TIM_MASTERSLAVEMODE_DISABLE;
  if (HAL_TIMEx_MasterConfigSynchronization(&htim3, &sMasterConfig) != HAL_OK)
  {
    Error_Handler();
  }
  sConfigOC.OCMode = TIM_OCMODE_PWM1;
  sConfigOC.Pulse = 0;
  sConfigOC.OCPolarity = TIM_OCPOLARITY_HIGH;
  sConfigOC.OCFastMode = TIM_OCFAST_DISABLE;
  if (HAL_TIM_PWM_ConfigChannel(&htim3, &sConfigOC, TIM_CHANNEL_1) != HAL_OK)
  {
    Error_Handler();
  }
  if (HAL_TIM_PWM_ConfigChannel(&htim3, &sConfigOC, TIM_CHANNEL_2) != HAL_OK)
  {
    Error_Handler();
  }
  HAL_TIM_MspPostInit(&htim3);

}

static void MX_TIM4_Init(void)
{

  TIM_ClockConfigTypeDef sClockSourceConfig = {0};
  TIM_MasterConfigTypeDef sMasterConfig = {0};

  htim4.Instance = TIM4;
  htim4.Init.Prescaler = 174;
  htim4.Init.CounterMode = TIM_COUNTERMODE_UP;
  htim4.Init.Period = 65535;
  htim4.Init.ClockDivision = TIM_CLOCKDIVISION_DIV1;
  htim4.Init.AutoReloadPreload = TIM_AUTORELOAD_PRELOAD_DISABLE;
  if (HAL_TIM_Base_Init(&htim4) != HAL_OK)
  {
    Error_Handler();
  }
  sClockSourceConfig.ClockSource = TIM_CLOCKSOURCE_INTERNAL;
  if (HAL_TIM_ConfigClockSource(&htim4, &sClockSourceConfig) != HAL_OK)
  {
    Error_Handler();
  }
  sMasterConfig.MasterOutputTrigger = TIM_TRGO_RESET;
  sMasterConfig.MasterSlaveMode = TIM_MASTERSLAVEMODE_DISABLE;
  if (HAL_TIMEx_MasterConfigSynchronization(&htim4, &sMasterConfig) != HAL_OK)
  {
    Error_Handler();
  }

}

static void MX_TIM5_Init(void)
{

  TIM_ClockConfigTypeDef sClockSourceConfig = {0};
  TIM_MasterConfigTypeDef sMasterConfig = {0};

  htim5.Instance = TIM5;
  htim5.Init.Prescaler = 174;
  htim5.Init.CounterMode = TIM_COUNTERMODE_UP;
  htim5.Init.Period = 4294967295;
  htim5.Init.ClockDivision = TIM_CLOCKDIVISION_DIV1;
  htim5.Init.AutoReloadPreload = TIM_AUTORELOAD_PRELOAD_DISABLE;
  if (HAL_TIM_Base_Init(&htim5) != HAL_OK)
  {
    Error_Handler();
  }
  sClockSourceConfig.ClockSource = TIM_CLOCKSOURCE_INTERNAL;
  if (HAL_TIM_ConfigClockSource(&htim5, &sClockSourceConfig) != HAL_OK)
  {
    Error_Handler();
  }
  sMasterConfig.MasterOutputTrigger = TIM_TRGO_RESET;
  sMasterConfig.MasterSlaveMode = TIM_MASTERSLAVEMODE_DISABLE;
  if (HAL_TIMEx_MasterConfigSynchronization(&htim5, &sMasterConfig) != HAL_OK)
  {
    Error_Handler();
  }
  /* USER CODE BEGIN TIM5_Init 2 */
  HAL_TIM_Base_Start(&htim5);
  /* USER CODE END TIM5_Init 2 */

}

static void MX_TIM6_Init(void)
{

  TIM_MasterConfigTypeDef sMasterConfig = {0};

  htim6.Instance = TIM6;
  htim6.Init.Prescaler = 174;
  htim6.Init.CounterMode = TIM_COUNTERMODE_UP;
  htim6.Init.Period = 65535;
  htim6.Init.AutoReloadPreload = TIM_AUTORELOAD_PRELOAD_DISABLE;
  if (HAL_TIM_Base_Init(&htim6) != HAL_OK)
  {
    Error_Handler();
  }
  sMasterConfig.MasterOutputTrigger = TIM_TRGO_RESET;
  sMasterConfig.MasterSlaveMode = TIM_MASTERSLAVEMODE_DISABLE;
  if (HAL_TIMEx_MasterConfigSynchronization(&htim6, &sMasterConfig) != HAL_OK)
  {
    Error_Handler();
  }

}

static void MX_GPIO_Init(void)
{
  GPIO_InitTypeDef GPIO_InitStruct = {0};

  /* GPIO Ports Clock Enable */
  __HAL_RCC_GPIOE_CLK_ENABLE();
  __HAL_RCC_GPIOC_CLK_ENABLE();
  __HAL_RCC_GPIOF_CLK_ENABLE();
  __HAL_RCC_GPIOH_CLK_ENABLE();
  __HAL_RCC_GPIOA_CLK_ENABLE();
  __HAL_RCC_GPIOB_CLK_ENABLE();
  __HAL_RCC_GPIOG_CLK_ENABLE();
  __HAL_RCC_GPIOD_CLK_ENABLE();

  /*Configure GPIO pin Output Level */
  HAL_GPIO_WritePin(GPIOE, SPI4_CS_Pin|PHY_RESET_Pin, GPIO_PIN_RESET);

  /*Configure GPIO pin Output Level */
  HAL_GPIO_WritePin(GPIOA, SPI6_CS_Pin|SPI2_CS_Pin|SPI3_CS_Pin, GPIO_PIN_RESET);

  /*Configure GPIO pin Output Level */
  HAL_GPIO_WritePin(GPIOD, GPIO_PIN_10, GPIO_PIN_RESET);

  /*Configure GPIO pin Output Level */
  HAL_GPIO_WritePin(GPIOG, SPI1_CS_Pin|FAULT_MCU_Pin, GPIO_PIN_RESET);

  /*Configure GPIO pins : SPI4_CS_Pin PHY_RESET_Pin */
  GPIO_InitStruct.Pin = SPI4_CS_Pin|PHY_RESET_Pin;
  GPIO_InitStruct.Mode = GPIO_MODE_OUTPUT_PP;
  GPIO_InitStruct.Pull = GPIO_NOPULL;
  GPIO_InitStruct.Speed = GPIO_SPEED_FREQ_LOW;
  HAL_GPIO_Init(GPIOE, &GPIO_InitStruct);

  /*Configure GPIO pins : PE6 PHY_GPIO_Pin */
  GPIO_InitStruct.Pin = GPIO_PIN_6|PHY_GPIO_Pin;
  GPIO_InitStruct.Mode = GPIO_MODE_INPUT;
  GPIO_InitStruct.Pull = GPIO_NOPULL;
  HAL_GPIO_Init(GPIOE, &GPIO_InitStruct);

  /*Configure GPIO pin : PF9 */
  GPIO_InitStruct.Pin = GPIO_PIN_9;
  GPIO_InitStruct.Mode = GPIO_MODE_INPUT;
  GPIO_InitStruct.Pull = GPIO_NOPULL;
  HAL_GPIO_Init(GPIOF, &GPIO_InitStruct);

  /*Configure GPIO pins : TS_MINUS_SENSE_Pin TS_PLUS_SENSE_Pin */
  GPIO_InitStruct.Pin = TS_MINUS_SENSE_Pin|TS_PLUS_SENSE_Pin;
  GPIO_InitStruct.Mode = GPIO_MODE_INPUT;
  GPIO_InitStruct.Pull = GPIO_NOPULL;
  HAL_GPIO_Init(GPIOC, &GPIO_InitStruct);

  /*Configure GPIO pins : SPI6_CS_Pin SPI2_CS_Pin SPI3_CS_Pin */
  GPIO_InitStruct.Pin = SPI6_CS_Pin|SPI2_CS_Pin|SPI3_CS_Pin;
  GPIO_InitStruct.Mode = GPIO_MODE_OUTPUT_PP;
  GPIO_InitStruct.Pull = GPIO_NOPULL;
  GPIO_InitStruct.Speed = GPIO_SPEED_FREQ_LOW;
  HAL_GPIO_Init(GPIOA, &GPIO_InitStruct);

  /*Configure GPIO pins : ACC_SENSE_Pin TSIP_SENSE_Pin PB2 */
  GPIO_InitStruct.Pin = ACC_SENSE_Pin|TSIP_SENSE_Pin|GPIO_PIN_2;
  GPIO_InitStruct.Mode = GPIO_MODE_INPUT;
  GPIO_InitStruct.Pull = GPIO_NOPULL;
  HAL_GPIO_Init(GPIOB, &GPIO_InitStruct);

  /*Configure GPIO pin : PHY_IRQ_Pin */
  GPIO_InitStruct.Pin = PHY_IRQ_Pin;
  GPIO_InitStruct.Mode = GPIO_MODE_IT_RISING;
  GPIO_InitStruct.Pull = GPIO_NOPULL;
  HAL_GPIO_Init(PHY_IRQ_GPIO_Port, &GPIO_InitStruct);

  /*Configure GPIO pin : TRACEX_TRIG_Pin */
  GPIO_InitStruct.Pin = TRACEX_TRIG_Pin;
  GPIO_InitStruct.Mode = GPIO_MODE_IT_FALLING;
  GPIO_InitStruct.Pull = GPIO_PULLUP;
  HAL_GPIO_Init(TRACEX_TRIG_GPIO_Port, &GPIO_InitStruct);

  /*Configure GPIO pin : PD10 */
  GPIO_InitStruct.Pin = GPIO_PIN_10;
  GPIO_InitStruct.Mode = GPIO_MODE_OUTPUT_PP;
  GPIO_InitStruct.Pull = GPIO_NOPULL;
  GPIO_InitStruct.Speed = GPIO_SPEED_FREQ_LOW;
  HAL_GPIO_Init(GPIOD, &GPIO_InitStruct);

  /*Configure GPIO pins : PD13 PD14 PD15 */
  GPIO_InitStruct.Pin = GPIO_PIN_13|GPIO_PIN_14|GPIO_PIN_15;
  GPIO_InitStruct.Mode = GPIO_MODE_IT_RISING;
  GPIO_InitStruct.Pull = GPIO_NOPULL;
  HAL_GPIO_Init(GPIOD, &GPIO_InitStruct);

  /*Configure GPIO pin : PD0 */
  GPIO_InitStruct.Pin = GPIO_PIN_0;
  GPIO_InitStruct.Mode = GPIO_MODE_INPUT;
  GPIO_InitStruct.Pull = GPIO_NOPULL;
  HAL_GPIO_Init(GPIOD, &GPIO_InitStruct);

  /*Configure GPIO pins : SPI1_CS_Pin FAULT_MCU_Pin */
  GPIO_InitStruct.Pin = SPI1_CS_Pin|FAULT_MCU_Pin;
  GPIO_InitStruct.Mode = GPIO_MODE_OUTPUT_PP;
  GPIO_InitStruct.Pull = GPIO_NOPULL;
  GPIO_InitStruct.Speed = GPIO_SPEED_FREQ_LOW;
  HAL_GPIO_Init(GPIOG, &GPIO_InitStruct);

  /* EXTI interrupt init*/
  HAL_NVIC_SetPriority(EXTI8_IRQn, 15, 0);
  HAL_NVIC_EnableIRQ(EXTI8_IRQn);

}

void HAL_TIM_PeriodElapsedCallback(TIM_HandleTypeDef *htim)
{
  if (htim->Instance == TIM1)
  {
    HAL_IncTick();
  }
}

void Error_Handler(void)
{
  __disable_irq();
  while (1)
  {
  }
}
